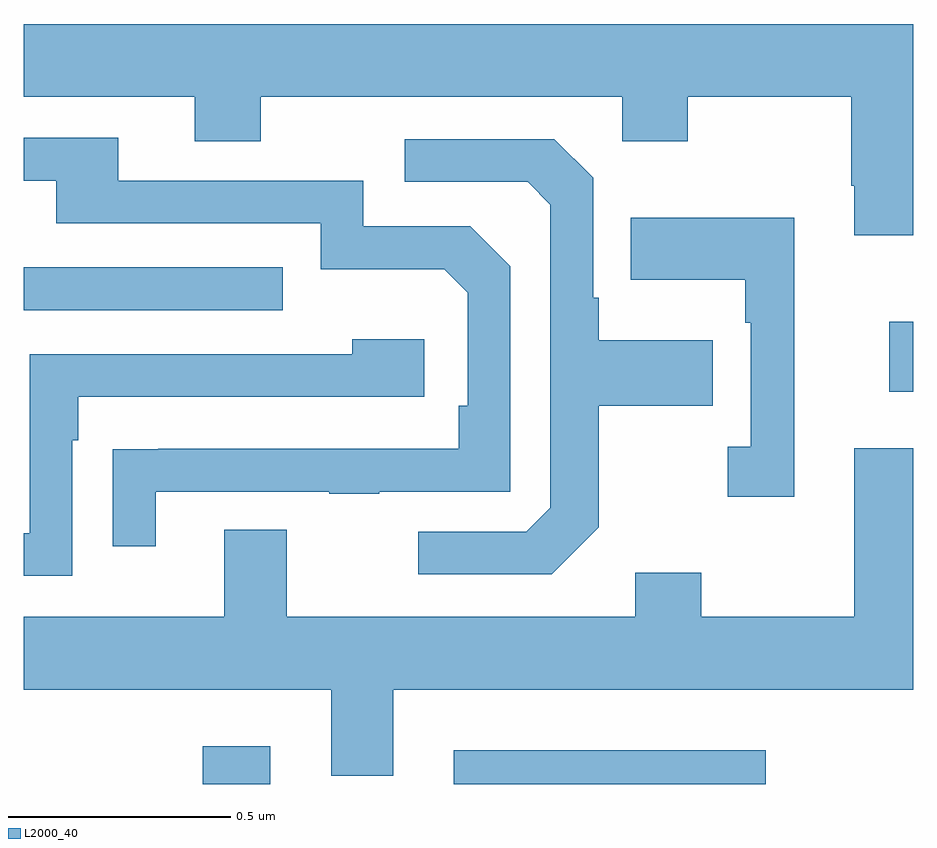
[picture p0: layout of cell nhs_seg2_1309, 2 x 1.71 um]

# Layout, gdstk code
import gdstk
lib = gdstk.Library(unit=1e-6, precision=1e-09)
def R(c, l, rs):  # rectangles x0, y0, x1, y1
    for r in rs: c.add(gdstk.rectangle(r[:2], r[2:], *l))
def P(c, l, *ps):  # polygons
    for p in ps: c.add(gdstk.Polygon(p, *l))
L2000_40 = (2000, 40)

nhs_seg2_1309 = lib.new_cell('nhs_seg2_1309')
R(nhs_seg2_1309, L2000_40, [(127.403,604.8,127.555,604.885), (127.967,604.8,128.668,604.876), (128.946,605.681,129,605.839), (127,605.865,127.583,605.961)])
P(nhs_seg2_1309, L2000_40, [(129,606.508),(127,606.508),(127,606.344),(127.385,606.344),(127.385,606.245),(127.533,606.245),(127.533,606.344),(128.346,606.344),(128.346,606.245),(128.493,606.245),(128.493,606.344),(128.86,606.344),(128.86,606.145),(128.867,606.145),(128.867,606.033),(129,606.033)],
  [(127.297,605.457),(127.687,605.457),(127.687,605.452),(127.799,605.452),(127.799,605.457),(128.094,605.457),(128.094,605.964),(128.004,606.054),(127.764,606.054),(127.764,606.156),(127.213,606.156),(127.213,606.252),(127,606.252),(127,606.156),(127.073,606.156),(127.073,606.06),(127.668,606.06),(127.668,605.957),(127.945,605.957),(127.998,605.904),(127.998,605.65),(127.978,605.65),(127.978,605.553),(127.303,605.553),(127.303,605.552),(127.201,605.552),(127.201,605.334),(127.297,605.334)],
  [(128.293,605.377),(128.293,605.65),(128.549,605.65),(128.549,605.797),(128.293,605.797),(128.293,605.893),(128.28,605.893),(128.28,606.162),(128.193,606.249),(127.857,606.249),(127.857,606.153),(128.133,606.153),(128.184,606.102),(128.184,605.421),(128.13,605.367),(127.887,605.367),(127.887,605.271),(128.187,605.271)],
  [(128.732,606.073),(128.365,606.073),(128.365,605.933),(128.622,605.933),(128.622,605.837),(128.634,605.837),(128.634,605.558),(128.583,605.558),(128.583,605.445),(128.732,605.445)],
  [(127.11,605.573),(127.123,605.573),(127.123,605.67),(127.9,605.67),(127.9,605.8),(127.739,605.8),(127.739,605.766),(127.014,605.766),(127.014,605.364),(127,605.364),(127,605.268),(127.11,605.268)],
  [(127.831,605.012),(129,605.012),(129,605.554),(128.867,605.554),(128.867,605.176),(128.523,605.176),(128.523,605.275),(128.375,605.275),(128.375,605.176),(127.591,605.176),(127.591,605.371),(127.451,605.371),(127.451,605.176),(127,605.176),(127,605.012),(127.691,605.012),(127.691,604.818),(127.831,604.818)])

lib.write_gds('nhs_seg2_1309.gds')
